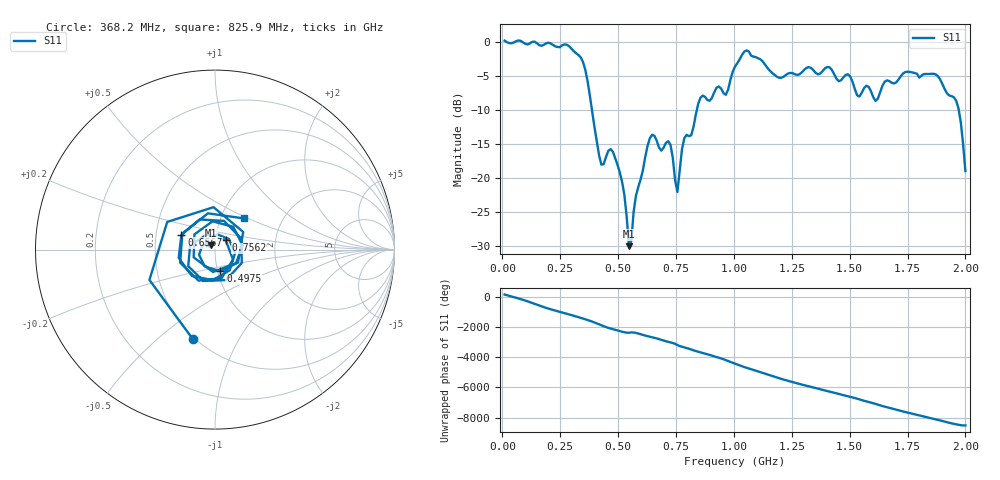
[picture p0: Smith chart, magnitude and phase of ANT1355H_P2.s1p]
!Created with skrf (http://scikit-rf.org).
# Hz S RI R 50.0
!freq ReS11 ImS11
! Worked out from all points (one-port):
!   201 points, 10 MHz to 2 GHz, reference 50 ohm
!   lowest |S11| = -30.0 dB at 547.3 MHz (marker M1), VSWR 1.07, Z = 47.9 + j2.27 ohm
!   |S11| at or under -10 dB: 387.1 MHz to 840.3 MHz (453.2 MHz wide, 73.9 % of centre); 1.971 GHz to end of sweep
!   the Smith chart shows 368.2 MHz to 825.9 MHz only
!   S11 on the Smith chart (normalised r, x): 368.2 MHz: 0.49, -0.66; 497.6 MHz: 1.03, -0.25; 656.8 MHz: 0.68, +0.12; 756.2 MHz: 1.12, +0.12; 825.9 MHz: 1.29, +0.47
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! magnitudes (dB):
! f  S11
! 10 MHz  0.2
! 258.8 MHz  -0.5
! 338.4 MHz  -2.3
! 368.2 MHz  -5.8
! 427.9 MHz  -18.0
! 467.7 MHz  -15.8
! 497.6 MHz  -18.1
! 507.5 MHz  -19.2
! 527.4 MHz  -22.5
! 547.3 MHz  -30.0
! 577.1 MHz  -22.6
! 656.8 MHz  -13.8
! 726.4 MHz  -15.1
! 756.2 MHz  -22.1
! 786.1 MHz  -14.2
! 825.9 MHz  -12.5
! 855.8 MHz  -8.2
! 965.2 MHz  -7.8
! 1.005 GHz  -3.6
! 1.055 GHz  -1.3
! 1.254 GHz  -4.6
! 1.502 GHz  -5.1
! 1.612 GHz  -8.7
! 1.751 GHz  -4.4
! 1.871 GHz  -4.8
! 1.96 GHz  -8.7
! 1.98 GHz  -11.8
! 2 GHz  -19.0
